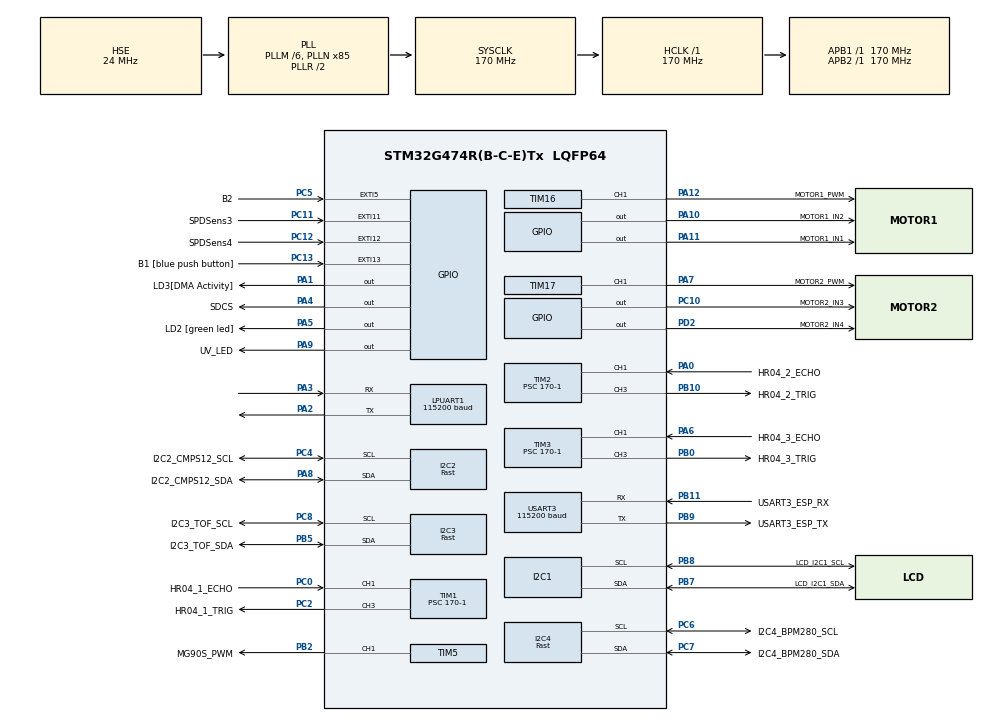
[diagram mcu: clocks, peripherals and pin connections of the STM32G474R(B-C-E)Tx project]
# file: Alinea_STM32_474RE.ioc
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ADC5.Channel-1\#ChannelRegularConversion=ADC_CHANNEL_TEMPSENSOR_ADC5
ADC5.Channel-2\#ChannelRegularConversion=ADC_CHANNEL_VBAT
ADC5.Channel-3\#ChannelRegularConversion=ADC_CHANNEL_VREFINT
ADC5.ContinuousConvMode=ENABLE
ADC5.NbrOfConversion=3
ADC5.NbrOfConversionFlag=1
ADC5.OffsetNumber-1\#ChannelRegularConversion=ADC_OFFSET_NONE
ADC5.OffsetNumber-2\#ChannelRegularConversion=ADC_OFFSET_NONE
ADC5.OffsetNumber-3\#ChannelRegularConversion=ADC_OFFSET_NONE
ADC5.Rank-1\#ChannelRegularConversion=1
ADC5.Rank-2\#ChannelRegularConversion=2
ADC5.Rank-3\#ChannelRegularConversion=3
ADC5.SamplingTime-1\#ChannelRegularConversion=ADC_SAMPLETIME_92CYCLES_5
ADC5.SamplingTime-2\#ChannelRegularConversion=ADC_SAMPLETIME_92CYCLES_5
ADC5.SamplingTime-3\#ChannelRegularConversion=ADC_SAMPLETIME_92CYCLES_5
Dma.ADC5.2.Direction=DMA_PERIPH_TO_MEMORY
Dma.ADC5.2.EventEnable=DISABLE
Dma.ADC5.2.Instance=DMA1_Channel5
Dma.ADC5.2.MemDataAlignment=DMA_MDATAALIGN_WORD
Dma.ADC5.2.MemInc=DMA_MINC_ENABLE
Dma.ADC5.2.Mode=DMA_CIRCULAR
Dma.ADC5.2.PeriphDataAlignment=DMA_PDATAALIGN_WORD
Dma.ADC5.2.PeriphInc=DMA_PINC_DISABLE
Dma.ADC5.2.Polarity=HAL_DMAMUX_REQ_GEN_RISING
Dma.ADC5.2.Priority=DMA_PRIORITY_LOW
Dma.ADC5.2.RequestNumber=1
Dma.ADC5.2.SignalID=NONE
Dma.ADC5.2.SyncEnable=DISABLE
Dma.ADC5.2.SyncPolarity=HAL_DMAMUX_SYNC_NO_EVENT
Dma.ADC5.2.SyncRequestNumber=1
Dma.ADC5.2.SyncSignalID=NONE
Dma.I2C1_RX.0.Direction=DMA_PERIPH_TO_MEMORY
Dma.I2C1_RX.0.EventEnable=DISABLE
Dma.I2C1_RX.0.Instance=DMA1_Channel3
Dma.I2C1_RX.0.MemDataAlignment=DMA_MDATAALIGN_BYTE
Dma.I2C1_RX.0.MemInc=DMA_MINC_ENABLE
Dma.I2C1_RX.0.Mode=DMA_CIRCULAR
Dma.I2C1_RX.0.PeriphDataAlignment=DMA_PDATAALIGN_BYTE
Dma.I2C1_RX.0.PeriphInc=DMA_PINC_DISABLE
Dma.I2C1_RX.0.Polarity=HAL_DMAMUX_REQ_GEN_RISING
Dma.I2C1_RX.0.Priority=DMA_PRIORITY_LOW
Dma.I2C1_RX.0.RequestNumber=1
Dma.I2C1_RX.0.SignalID=NONE
Dma.I2C1_RX.0.SyncEnable=DISABLE
Dma.I2C1_RX.0.SyncPolarity=HAL_DMAMUX_SYNC_NO_EVENT
Dma.I2C1_RX.0.SyncRequestNumber=1
Dma.I2C1_RX.0.SyncSignalID=NONE
Dma.I2C1_TX.1.Direction=DMA_MEMORY_TO_PERIPH
Dma.I2C1_TX.1.EventEnable=DISABLE
Dma.I2C1_TX.1.Instance=DMA1_Channel4
Dma.I2C1_TX.1.MemDataAlignment=DMA_MDATAALIGN_BYTE
Dma.I2C1_TX.1.MemInc=DMA_MINC_ENABLE
Dma.I2C1_TX.1.Mode=DMA_NORMAL
Dma.I2C1_TX.1.PeriphDataAlignment=DMA_PDATAALIGN_BYTE
Dma.I2C1_TX.1.PeriphInc=DMA_PINC_DISABLE
Dma.I2C1_TX.1.Polarity=HAL_DMAMUX_REQ_GEN_RISING
Dma.I2C1_TX.1.Priority=DMA_PRIORITY_LOW
Dma.I2C1_TX.1.RequestNumber=1
Dma.I2C1_TX.1.SignalID=NONE
Dma.I2C1_TX.1.SyncEnable=DISABLE
Dma.I2C1_TX.1.SyncPolarity=HAL_DMAMUX_SYNC_NO_EVENT
Dma.I2C1_TX.1.SyncRequestNumber=1
Dma.I2C1_TX.1.SyncSignalID=NONE
Dma.Request0=I2C1_RX
Dma.Request1=I2C1_TX
Dma.Request2=ADC5
FREERTOS.HEAP_NUMBER=4
FREERTOS.INCLUDE_vTaskCleanUpResources=1
FREERTOS.Tasks01=supervisorTask,8,512,StartSupervisorTask,Default,NULL,Dynamic,NULL,NULL
FREERTOS.configENABLE_FPU=1
FREERTOS.configMINIMAL_STACK_SIZE=256
FREERTOS.configTICK_RATE_HZ=1000
FREERTOS.configTOTAL_HEAP_SIZE=32768
FREERTOS.configUSE_TICKLESS_IDLE=0
I2C1.Timing=0x30A0A7FB
I2C2.I2C_Speed_Mode=I2C_Fast
I2C2.Timing=0x10802D9B
I2C3.I2C_Speed_Mode=I2C_Fast
I2C3.Timing=0x10802D9B
I2C4.Analog_Filter=I2C_ANALOGFILTER_DISABLE
I2C4.I2C_Speed_Mode=I2C_Fast
I2C4.Timing=0x108031A0
LPUART1.BaudRate=115200
Mcu.Family=STM32G4
Mcu.Name=STM32G474R(B-C-E)Tx
Mcu.Package=LQFP64
NVIC.ADC5_IRQn=true\:5\:0\:false\:false\:true\:true\:true\:true
NVIC.DMA1_Channel3_IRQn=true\:5\:0\:false\:false\:true\:true\:false\:true
NVIC.DMA1_Channel4_IRQn=true\:5\:0\:false\:false\:true\:true\:false\:true
NVIC.DMA1_Channel5_IRQn=true\:5\:0\:false\:false\:true\:true\:false\:true
NVIC.EXTI15_10_IRQn=true\:5\:0\:false\:false\:true\:true\:true\:true
NVIC.EXTI9_5_IRQn=true\:5\:0\:false\:false\:true\:true\:true\:true
NVIC.I2C1_ER_IRQn=true\:5\:0\:false\:false\:true\:true\:true\:true
NVIC.I2C1_EV_IRQn=true\:5\:0\:false\:false\:true\:true\:true\:true
NVIC.I2C2_EV_IRQn=true\:5\:0\:false\:false\:true\:true\:true\:true
NVIC.LPUART1_IRQn=true\:5\:0\:false\:false\:true\:true\:true\:true
NVIC.PriorityGroup=NVIC_PRIORITYGROUP_4
NVIC.TIM1_CC_IRQn=true\:5\:0\:false\:false\:true\:true\:true\:true
NVIC.TIM2_IRQn=true\:5\:0\:false\:false\:true\:true\:true\:true
NVIC.TIM3_IRQn=true\:5\:0\:false\:false\:true\:true\:true\:true
NVIC.TIM7_DAC_IRQn=true\:0\:0\:false\:false\:true\:false\:false\:true
NVIC.TimeBase=TIM7_DAC_IRQn
NVIC.TimeBaseIP=TIM7
NVIC.USART3_IRQn=true\:5\:0\:false\:false\:true\:true\:true\:true
PA0.GPIO_Label=HR04_2_ECHO
PA0.GPIO_PuPd=GPIO_PULLDOWN
PA0.GPIO_Speed=GPIO_SPEED_FREQ_HIGH
PA0.Signal=S_TIM2_CH1
PA1.GPIO_Label=LD3[DMA Activity]
PA1.Signal=GPIO_Output
PA10.GPIO_Label=MOTOR1_IN2
PA10.Signal=GPIO_Output
PA11.GPIO_Label=MOTOR1_IN1
PA11.Signal=GPIO_Output
PA12.GPIO_Label=MOTOR1_PWM
PA12.Signal=S_TIM16_CH1
PA13.GPIO_Label=T_SWDIO
PA13.Mode=Serial_Wire
PA13.Signal=SYS_JTMS-SWDIO
PA14.Mode=Serial_Wire
PA14.Signal=SYS_JTCK-SWCLK
PA2.Mode=Asynchronous
PA2.Signal=LPUART1_TX
PA3.Mode=Asynchronous
PA3.Signal=LPUART1_RX
PA4.GPIO_Label=SDCS
PA4.Signal=GPIO_Output
PA5.GPIO_Label=LD2 [green led]
PA5.Signal=GPIO_Output
PA6.GPIO_Label=HR04_3_ECHO
PA6.GPIO_PuPd=GPIO_PULLDOWN
PA6.GPIO_Speed=GPIO_SPEED_FREQ_HIGH
PA6.Signal=S_TIM3_CH1
PA7.GPIO_Label=MOTOR2_PWM
PA7.Signal=S_TIM17_CH1
PA8.GPIO_Label=I2C2_CMPS12_SDA
PA8.Mode=I2C
PA8.Signal=I2C2_SDA
PA9.GPIO_Label=UV_LED
PA9.GPIO_PuPd=GPIO_PULLUP
PA9.Signal=GPIO_Output
PB0.GPIO_Label=HR04_3_TRIG
PB0.Signal=S_TIM3_CH3
PB10.GPIO_Label=HR04_2_TRIG
PB10.Signal=S_TIM2_CH3
PB11.GPIO_Label=USART3_ESP_RX
PB11.GPIO_Speed=GPIO_SPEED_FREQ_VERY_HIGH
PB11.Mode=Asynchronous
PB11.Signal=USART3_RX
PB2.GPIO_Label=MG90S_PWM
PB2.Signal=S_TIM5_CH1
PB3.GPIO_Label=T_SWO
PB3.Signal=SYS_JTDO-SWO
PB5.GPIO_Label=I2C3_TOF_SDA
PB5.Mode=I2C
PB5.Signal=I2C3_SDA
PB7.GPIO_Label=LCD_I2C1_SDA
PB7.Mode=I2C
PB7.Signal=I2C1_SDA
PB8-BOOT0.GPIO_Label=LCD_I2C1_SCL
PB8-BOOT0.Mode=I2C
PB8-BOOT0.Signal=I2C1_SCL
PB9.GPIO_FM9=SYSCFG_FASTMODEPLUS_PB9
PB9.GPIO_Label=USART3_ESP_TX
PB9.GPIO_PuPd=GPIO_NOPULL
PB9.GPIO_Speed=GPIO_SPEED_FREQ_HIGH
PB9.Mode=Asynchronous
PB9.Signal=USART3_TX
PC0.GPIO_Label=HR04_1_ECHO
PC0.GPIO_ModeDefaultPP=GPIO_MODE_AF_PP
PC0.GPIO_PuPd=GPIO_PULLDOWN
PC0.GPIO_Speed=GPIO_SPEED_FREQ_VERY_HIGH
PC0.Signal=S_TIM1_CH1
PC10.GPIO_Label=MOTOR2_IN3
PC10.Signal=GPIO_Output
PC11.GPIO_Label=SPDSens3
PC11.GPIO_ModeDefaultEXTI=GPIO_MODE_IT_FALLING
PC11.GPIO_PuPd=GPIO_PULLUP
PC11.Signal=GPXTI11
PC12.GPIO_Label=SPDSens4
PC12.GPIO_ModeDefaultEXTI=GPIO_MODE_IT_FALLING
PC12.GPIO_PuPd=GPIO_PULLUP
PC12.Signal=GPXTI12
PC13.GPIO_Label=B1 [blue push button]
PC13.GPIO_PuPd=GPIO_PULLDOWN
PC13.Signal=GPXTI13
PC14-OSC32_IN.Mode=LSE-External-Oscillator
PC14-OSC32_IN.Signal=RCC_OSC32_IN
PC15-OSC32_OUT.Mode=LSE-External-Oscillator
PC15-OSC32_OUT.Signal=RCC_OSC32_OUT
PC2.GPIO_Label=HR04_1_TRIG
PC2.GPIO_ModeDefaultPP=GPIO_MODE_AF_PP
PC2.GPIO_PuPd=GPIO_PULLDOWN
PC2.GPIO_Speed=GPIO_SPEED_FREQ_VERY_HIGH
PC2.Signal=S_TIM1_CH3
PC4.GPIO_Label=I2C2_CMPS12_SCL
PC4.Mode=I2C
PC4.Signal=I2C2_SCL
PC5.GPIO_Label=B2
PC5.GPIO_ModeDefaultEXTI=GPIO_MODE_IT_FALLING
PC5.GPIO_PuPd=GPIO_PULLUP
PC5.Signal=GPXTI5
PC6.GPIO_Label=I2C4_BPM280_SCL
PC6.Mode=I2C
PC6.Signal=I2C4_SCL
PC7.GPIO_Label=I2C4_BPM280_SDA
PC7.Mode=I2C
PC7.Signal=I2C4_SDA
PC8.GPIO_Label=I2C3_TOF_SCL
PC8.Mode=I2C
PC8.Signal=I2C3_SCL
PD2.GPIO_Label=MOTOR2_IN4
PD2.Signal=GPIO_Output
PF0-OSC_IN.Mode=HSE-External-Oscillator
PF0-OSC_IN.Signal=RCC_OSC_IN
PF1-OSC_OUT.Mode=HSE-External-Oscillator
PF1-OSC_OUT.Signal=RCC_OSC_OUT
ProjectManager.HeapSize=0x200
ProjectManager.StackSize=0x400
ProjectManager.TargetToolchain=STM32CubeIDE
RCC.ADC12Freq_Value=170000000
RCC.ADC345Freq_Value=170000000
RCC.AHBFreq_Value=170000000
RCC.APB1Freq_Value=170000000
RCC.APB1TimFreq_Value=170000000
RCC.APB2Freq_Value=170000000
RCC.APB2TimFreq_Value=170000000
RCC.CortexFreq_Value=170000000
RCC.EXTERNAL_CLOCK_VALUE=12288000
RCC.HCLKFreq_Value=170000000
RCC.HSE_VALUE=24000000
RCC.HSI48_VALUE=48000000
RCC.HSI_VALUE=16000000
RCC.I2C1CLockSelection=RCC_I2C1CLKSOURCE_SYSCLK
RCC.I2C2CLockSelection=RCC_I2C2CLKSOURCE_SYSCLK
RCC.I2C3CLockSelection=RCC_I2C3CLKSOURCE_SYSCLK
RCC.LPUART1CLockSelection=RCC_LPUART1CLKSOURCE_SYSCLK
RCC.PLLM=RCC_PLLM_DIV6
RCC.PLLN=85
RCC.PLLSourceVirtual=RCC_PLLSOURCE_HSE
RCC.RTCClockSelection=RCC_RTCCLKSOURCE_LSE
RCC.SYSCLKFreq_VALUE=170000000
RCC.SYSCLKSource=RCC_SYSCLKSOURCE_PLLCLK
RCC.USBFreq_Value=170000000
RCC.VCOOutputFreq_Value=340000000
SH.S_TIM16_CH1.0=TIM16_CH1,PWM Generation1 CH1
SH.S_TIM17_CH1.0=TIM17_CH1,PWM Generation1 CH1
SH.S_TIM1_CH1.0=TIM1_CH1,TriggerSource_TI1FP1
SH.S_TIM1_CH1.1=TIM1_CH1,Input_Capture1_from_TI1
SH.S_TIM1_CH1.2=TIM1_CH1,Input_Capture2_from_TI1
SH.S_TIM1_CH3.0=TIM1_CH3,PWM Generation3 CH3
SH.S_TIM2_CH1.0=TIM2_CH1,TriggerSource_TI1FP1
SH.S_TIM2_CH1.1=TIM2_CH1,Input_Capture1_from_TI1
SH.S_TIM2_CH1.2=TIM2_CH1,Input_Capture2_from_TI1
SH.S_TIM2_CH3.0=TIM2_CH3,PWM Generation3 CH3
SH.S_TIM3_CH1.0=TIM3_CH1,TriggerSource_TI1FP1
SH.S_TIM3_CH1.1=TIM3_CH1,Input_Capture1_from_TI1
SH.S_TIM3_CH1.2=TIM3_CH1,Input_Capture2_from_TI1
SH.S_TIM3_CH3.0=TIM3_CH3,PWM Generation3 CH3
SH.S_TIM5_CH1.0=TIM5_CH1,PWM Generation1 CH1
TIM1.AutoReloadPreload=TIM_AUTORELOAD_PRELOAD_ENABLE
TIM1.Channel-Input_Capture1_from_TI1=TIM_CHANNEL_1
TIM1.Channel-Input_Capture2_from_TI1=TIM_CHANNEL_2
TIM1.Channel-PWM\ Generation3\ CH3=TIM_CHANNEL_3
TIM1.Dithering=Disable
TIM1.ICPolarity_CH2=TIM_INPUTCHANNELPOLARITY_FALLING
TIM1.OCFastMode_PWM-PWM\ Generation3\ CH3=TIM_OCFAST_ENABLE
TIM1.PeriodNoDither=0xffff-1
TIM1.Prescaler=170-1
TIM1.PulseNoDither_3=10
TIM16.Channel=TIM_CHANNEL_1
TIM16.PeriodNoDither=100-1
TIM16.Prescaler=17000-1
TIM16.PulseNoDither_1=10
TIM17.Channel=TIM_CHANNEL_1
TIM17.PeriodNoDither=100-1
TIM17.Prescaler=17000-1
TIM17.PulseNoDither_1=10
TIM2.AutoReloadPreload=TIM_AUTORELOAD_PRELOAD_ENABLE
TIM2.Channel-Input_Capture1_from_TI1=TIM_CHANNEL_1
TIM2.Channel-Input_Capture2_from_TI1=TIM_CHANNEL_2
TIM2.Channel-PWM\ Generation3\ CH3=TIM_CHANNEL_3
TIM2.Dithering=Disable
TIM2.ICPolarity_CH2=TIM_INPUTCHANNELPOLARITY_FALLING
TIM2.OCFastMode_PWM-PWM\ Generation3\ CH3=TIM_OCFAST_ENABLE
TIM2.PeriodNoDither=0xffff-1
TIM2.Prescaler=170-1
TIM2.PulseNoDither_3=10
TIM3.AutoReloadPreload=TIM_AUTORELOAD_PRELOAD_ENABLE
TIM3.Channel-Input_Capture1_from_TI1=TIM_CHANNEL_1
TIM3.Channel-Input_Capture2_from_TI1=TIM_CHANNEL_2
TIM3.Channel-PWM\ Generation3\ CH3=TIM_CHANNEL_3
TIM3.Dithering=Disable
TIM3.ICPolarity_CH2=TIM_INPUTCHANNELPOLARITY_FALLING
TIM3.OCFastMode_PWM-PWM\ Generation3\ CH3=TIM_OCFAST_ENABLE
TIM3.PeriodNoDither=0xffff-1
TIM3.Prescaler=170-1
TIM3.PulseNoDither_3=10
TIM5.Channel-PWM\ Generation1\ CH1=TIM_CHANNEL_1
TIM5.OCFastMode_PWM-PWM\ Generation1\ CH1=TIM_OCFAST_DISABLE
TIM5.OCMode_PWM-PWM\ Generation1\ CH1=TIM_OCMODE_PWM1
TIM5.PeriodNoDither=1000-1
TIM5.Prescaler=3400-1
TIM5.PulseNoDither_1=0
USART3.AutoBaudRateEnableParam=UART_ADVFEATURE_AUTOBAUDRATE_DISABLE
USART3.BaudRate=115200
USART3.DMADisableonRxErrorParam=ADVFEATURE_DMA_DISABLEONRXERROR
USART3.OverrunDisableParam=ADVFEATURE_OVERRUN_DISABLE
USART3.Parity=PARITY_NONE
USART3.VirtualMode-Asynchronous=VM_ASYNC
USART3.WordLength=WORDLENGTH_8B
VP_ADC5_TempSens_Input.Mode=IN-TempSens
VP_ADC5_Vbat_Input.Mode=IN-Vbat
VP_ADC5_Vref_Input.Mode=IN-Vrefint
VP_FREERTOS_VS_CMSIS_V2.Mode=CMSIS_V2
VP_SYS_VS_DBSignals.Mode=DisableDeadBatterySignals
VP_SYS_VS_tim7.Mode=TIM7
VP_TIM16_VS_ClockSourceINT.Mode=Enable_Timer
VP_TIM17_VS_ClockSourceINT.Mode=Enable_Timer
VP_TIM1_VS_ClockSourceINT.Mode=Internal
VP_TIM1_VS_ControllerModeReset.Mode=Reset Mode
VP_TIM2_VS_ClockSourceINT.Mode=Internal
VP_TIM2_VS_ControllerModeReset.Mode=Reset Mode
VP_TIM3_VS_ClockSourceINT.Mode=Internal
VP_TIM3_VS_ControllerModeReset.Mode=Reset Mode
board=NUCLEO-G474RE

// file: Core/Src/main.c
/* USER CODE BEGIN Header */
/**
 ******************************************************************************
 * @file           : main.c
 * @brief          : Main program body
 ******************************************************************************
 * @attention
 *
 * <h2><center>&copy; Copyright (c) 2020 STMicroelectronics.
 * All rights reserved.</center></h2>
 *
 * This software component is licensed by ST under BSD 3-Clause license,
 * the "License"; You may not use this file except in compliance with the
 * License. You may obtain a copy of the License at:
 *                        opensource.org/licenses/BSD-3-Clause
 *
 ******************************************************************************
 */
/* USER CODE END Header */

#include "main.h"
#include "cmsis_os.h"
#include "adc.h"
#include "dma.h"
#include "i2c.h"
#include "usart.h"
#include "tim.h"
#include "gpio.h"

/* USER CODE BEGIN Includes */
#include "printf.h"
#include "string.h"
#include <stdio.h>
/* USER CODE END Includes */

void SystemClock_Config(void);
void MX_FREERTOS_Init(void);

int main(void)
{

  /* MCU Configuration--------------------------------------------------------*/

  /* Reset of all peripherals, Initializes the Flash interface and the Systick. */
  HAL_Init();

  /* Configure the system clock */
  SystemClock_Config();

  /* Initialize all configured peripherals */
  MX_GPIO_Init();
  MX_DMA_Init();
  MX_LPUART1_UART_Init();
  MX_I2C1_Init();
  MX_I2C3_Init();
  MX_I2C4_Init();
  MX_TIM1_Init();
  MX_TIM2_Init();
  MX_TIM3_Init();
  MX_TIM5_Init();
  MX_TIM16_Init();
  MX_TIM17_Init();
  MX_USART3_UART_Init();
  MX_ADC5_Init();
  MX_I2C2_Init();

  /* Init scheduler */
  osKernelInitialize();  /* Call init function for freertos objects (in freertos.c) */
  MX_FREERTOS_Init();
  /* Start scheduler */
  osKernelStart();

  /* We should never get here as control is now taken by the scheduler */
  /* Infinite loop */
	while (1) {

	}
}

void SystemClock_Config(void)
{
  RCC_OscInitTypeDef RCC_OscInitStruct = {0};
  RCC_ClkInitTypeDef RCC_ClkInitStruct = {0};
  RCC_PeriphCLKInitTypeDef PeriphClkInit = {0};

  /** Configure the main internal regulator output voltage
  */
  HAL_PWREx_ControlVoltageScaling(PWR_REGULATOR_VOLTAGE_SCALE1_BOOST);
  /** Initializes the CPU, AHB and APB busses clocks
  */
  RCC_OscInitStruct.OscillatorType = RCC_OSCILLATORTYPE_HSE;
  RCC_OscInitStruct.HSEState = RCC_HSE_ON;
  RCC_OscInitStruct.PLL.PLLState = RCC_PLL_ON;
  RCC_OscInitStruct.PLL.PLLSource = RCC_PLLSOURCE_HSE;
  RCC_OscInitStruct.PLL.PLLM = RCC_PLLM_DIV6;
  RCC_OscInitStruct.PLL.PLLN = 85;
  RCC_OscInitStruct.PLL.PLLP = RCC_PLLP_DIV2;
  RCC_OscInitStruct.PLL.PLLQ = RCC_PLLQ_DIV2;
  RCC_OscInitStruct.PLL.PLLR = RCC_PLLR_DIV2;
  if (HAL_RCC_OscConfig(&RCC_OscInitStruct) != HAL_OK)
  {
    Error_Handler();
  }
  /** Initializes the CPU, AHB and APB busses clocks
  */
  RCC_ClkInitStruct.ClockType = RCC_CLOCKTYPE_HCLK|RCC_CLOCKTYPE_SYSCLK
                              |RCC_CLOCKTYPE_PCLK1|RCC_CLOCKTYPE_PCLK2;
  RCC_ClkInitStruct.SYSCLKSource = RCC_SYSCLKSOURCE_PLLCLK;
  RCC_ClkInitStruct.AHBCLKDivider = RCC_SYSCLK_DIV1;
  RCC_ClkInitStruct.APB1CLKDivider = RCC_HCLK_DIV1;
  RCC_ClkInitStruct.APB2CLKDivider = RCC_HCLK_DIV1;

  if (HAL_RCC_ClockConfig(&RCC_ClkInitStruct, FLASH_LATENCY_8) != HAL_OK)
  {
    Error_Handler();
  }
  /** Initializes the peripherals clocks
  */
  PeriphClkInit.PeriphClockSelection = RCC_PERIPHCLK_USART3|RCC_PERIPHCLK_LPUART1
                              |RCC_PERIPHCLK_I2C1|RCC_PERIPHCLK_I2C2
                              |RCC_PERIPHCLK_I2C3|RCC_PERIPHCLK_I2C4
                              |RCC_PERIPHCLK_ADC345;
  PeriphClkInit.Usart3ClockSelection = RCC_USART3CLKSOURCE_PCLK1;
  PeriphClkInit.Lpuart1ClockSelection = RCC_LPUART1CLKSOURCE_SYSCLK;
  PeriphClkInit.I2c1ClockSelection = RCC_I2C1CLKSOURCE_SYSCLK;
  PeriphClkInit.I2c2ClockSelection = RCC_I2C2CLKSOURCE_SYSCLK;
  PeriphClkInit.I2c3ClockSelection = RCC_I2C3CLKSOURCE_SYSCLK;
  PeriphClkInit.I2c4ClockSelection = RCC_I2C4CLKSOURCE_PCLK1;
  PeriphClkInit.Adc345ClockSelection = RCC_ADC345CLKSOURCE_SYSCLK;
  if (HAL_RCCEx_PeriphCLKConfig(&PeriphClkInit) != HAL_OK)
  {
    Error_Handler();
  }
}

/* USER CODE BEGIN 4 */
void _putchar(char character)
{
  HAL_UART_Transmit(&hlpuart1, (uint8_t *)&character, sizeof(uint8_t), HAL_MAX_DELAY);
}
/* USER CODE END 4 */

 /**
  * @brief  Period elapsed callback in non blocking mode
  * @note   This function is called  when TIM7 interrupt took place, inside
  * HAL_TIM_IRQHandler(). It makes a direct call to HAL_IncTick() to increment
  * a global variable "uwTick" used as application time base.
  * @param  htim : TIM handle
  * @retval None
  */
void HAL_TIM_PeriodElapsedCallback(TIM_HandleTypeDef *htim)
{
  if (htim->Instance == TIM7) {
    HAL_IncTick();
  }
}

void Error_Handler(void)
{
  /* USER CODE BEGIN Error_Handler_Debug */
	/* User can add his own implementation to report the HAL error return state */
	char msg[50];
	sprintf(msg, "Error reported... File %s on line %d\n\r", file, line);
	HAL_UART_Transmit(&hlpuart1, (uint8_t*) msg, strlen(msg), HAL_MAX_DELAY);

  /* USER CODE END Error_Handler_Debug */
}

#ifdef  USE_FULL_ASSERT
/**
  * @brief  Reports the name of the source file and the source line number
  *         where the assert_param error has occurred.
  * @param  file: pointer to the source file name
  * @param  line: assert_param error line source number
  * @retval None
  */
void assert_failed(uint8_t *file, uint32_t line)
{
  /* USER CODE BEGIN 6 */
	/* User can add his own implementation to report the file name and line number,
      printf("Wrong parameters value: file %s on line %d\r\n", file, line) */
	char msg[100];
	sprintf(msg, "Wrong parameters value: file %s", file);// on line %lu\r\n", file, line);
	loggerE(msg);
	//HAL_UART_Transmit(&hlpuart1, (uint8_t *)msg, strlen(msg), HAL_MAX_DELAY);

  /* USER CODE END 6 */
}
#endif /* USE_FULL_ASSERT */

/************************ (C) COPYRIGHT STMicroelectronics *****END OF FILE****/

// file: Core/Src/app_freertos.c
/* USER CODE BEGIN Header */
/**
 ******************************************************************************
 * File Name          : app_freertos.c
 * Description        : Code for freertos applications
 ******************************************************************************
 * @attention
 *
 * <h2><center>&copy; Copyright (c) 2020 STMicroelectronics.
 * All rights reserved.</center></h2>
 *
 * This software component is licensed by ST under Ultimate Liberty license
 * SLA0044, the "License"; You may not use this file except in compliance with
 * the License. You may obtain a copy of the License at:
 *                             www.st.com/SLA0044
 *
 ******************************************************************************
 */
/* USER CODE END Header */

#include "FreeRTOS.h"
#include "task.h"
#include "main.h"
#include "cmsis_os.h"

/* USER CODE BEGIN Includes */

#include <stdlib.h>
#include "configuration.h"
#include "string.h"
#include "printf.h"
#include "i2c.h"
#include "Button_service.h"
#include "IRQ_Handler.h"
#include "BMP280_service.h"
#include "lcdMenu_service.h"
#include "HCSR04_service.h"
#include "MotorsControl_service.h"
#include "command_service.h"
#include "MG90S_service.h"
#include "navControl_service.h"
#include "esp32serial_service.h"
#include "SystemInfos.h"
#include "uvLed_service.h"
#include "CMPS12_service.h"
#include "data_service.h"

/* USER CODE END Includes */

/* USER CODE BEGIN PD */

#define SERVICE_LOGGER_COMPLETE			(1 << 0)
#define SERVICE_LCD_COMPLETE			(1 << 1)
#define SERVICE_BUTTON_COMPLETE			(1 << 2)
#define SERVICE_HR04_COMPLETE			(1 << 3)
#define SERVICE_V53L0X_COMPLETE			(1 << 4)
#define SERVICE_MPU6050_COMPLETE		(1 << 5)
#define SERVICE_SDCARD_COMPLETE			(1 << 6)
#define SERVICE_SPEED_COMPLETE			(1 << 7)
#define SERVICE_HCM5883_COMPLETE		(1 << 8)
#define SERVICE_NAVCONTROL_COMPLETE		(1 << 9)
#define SERVICE_MOTORSCONTROL_COMPLETE	(1 << 10)

/* USER CODE END PD */

/* USER CODE BEGIN Variables */
UART_HandleTypeDef hlpuart1;
uint16_t ServicesSuccessFlags = 0; /* holds the flags of succesfully running services */

/* USER CODE END Variables */
/* Definitions for supervisorTask */
osThreadId_t supervisorTaskHandle;
const osThreadAttr_t supervisorTask_attributes = {
  .name = "supervisorTask",
  .priority = (osPriority_t) osPriorityLow,
  .stack_size = 512 * 4
};

void StartSupervisorTask(void *argument);

void MX_FREERTOS_Init(void); /* (MISRA C 2004 rule 8.1) */

void MX_FREERTOS_Init(void) {
  /* USER CODE BEGIN Init */

	char *msg = "\n\r-------------------------- Starting program... Initializing services...\n\n\r";
	HAL_UART_Transmit(&hlpuart1, (uint8_t*) msg, strlen(msg), HAL_MAX_DELAY);

#ifdef DEBUG_SERVICE_LCD_MENU
	if (uLcdMenuServiceInit() == EXIT_FAILURE) {
		printf("Error Initializing LCD Menu Service\n\r");
		Error_Handler();
	}
#endif

#ifdef DEBUG_SERVICE_BUTTON
	if (uButtonServiceInit() == EXIT_FAILURE) {
		printf("Error Initializing Button Service\n\r");
		Error_Handler();
	} else {
		ServicesSuccessFlags |= SERVICE_BUTTON_COMPLETE;
	}
#endif

#ifdef DEBUG_SERVICE_HCSR04
	if (uHcsr04ServiceInit() == EXIT_FAILURE) {
		printf("Error Initializing HR-SC04 Distance Sensors Service\n\r");
		Error_Handler();
	} else {
		ServicesSuccessFlags |= SERVICE_HR04_COMPLETE;
	}
#endif

#ifdef DEBUG_SERVICE_MG90S
	if (uMg90sServiceInit() == EXIT_FAILURE) {
		printf("Error Initializing Front Servo Service\n\r");
		Error_Handler();
	}
#endif

#ifdef DEBUG_SERVICE_CMD_PARSER
	if (uCmdParseServiceInit() == EXIT_FAILURE) {
		printf("Error Initializing Command Parser Service\n\r");
		Error_Handler();
	}
#endif

#ifdef DEBUG_SERVICE_ESP32_SERIAL
	if (uEsp32SerialServiceInit() == EXIT_FAILURE) {
		printf("Error Initializing ESP32 Serial TX/RX Service\n\r");
		Error_Handler();
	}
#endif

#ifdef DEBUG_SERVICE_BMP280
	if (uBmp280ServiceInit() == EXIT_FAILURE) {
		printf("Error Initializing BMP280 Service\n\r");
		Error_Handler();
	}
#endif

#ifdef DEBUG_SERVICE_CMPS12
	if (uCmps12ServiceInit() == EXIT_FAILURE) {
		printf("Error Initializing CMPS12 Service\n\r");
		//Error_Handler();
	}
#endif

#ifdef DEBUG_SERVICE_MOTORS
	if (uMotorsControlServiceInit() == EXIT_FAILURE) {
		printf("Error Initializing Motors Control Service");
		Error_Handler();
	} else {
		ServicesSuccessFlags |= SERVICE_MOTORSCONTROL_COMPLETE;
	}
#endif

#ifdef DEBUG_SERVICE_NAVCONTROL
	if (uNavControlServiceInit() == EXIT_FAILURE) {
		printf("Error Initializing Nav Control Service");
		Error_Handler();
	} else {
		ServicesSuccessFlags |= SERVICE_NAVCONTROL_COMPLETE;
	}
#endif

	//FIXME: Crash here!
	/*if (uSystemInfoServiceInit()== EXIT_FAILURE) {
		dbg_printf("Error Initializing System Info Service");
		Error_Handler();
	}*/

#ifdef DEBUG_SERVICE_UVLED
	if (uUvLedServiceInit() == EXIT_FAILURE) {
		printf("Error Initializing UV Led Service");
		Error_Handler();
	}
#endif

#ifdef DEBUG_SERVICE_DATA_CTRL
	if (uDataServiceinit() == EXIT_FAILURE) {
		printf("Error Initializing Data Control Service");
		Error_Handler();
	}
#endif

	//dbg_printf("Init sequence complete....");
	/** let's start the 1µs timer for the whole application */

  /* USER CODE END Init */

  /* Create the thread(s) */
  /* creation of supervisorTask */
  supervisorTaskHandle = osThreadNew(StartSupervisorTask, NULL, &supervisorTask_attributes);

}

void StartSupervisorTask(void *argument)
{
  /* USER CODE BEGIN StartSupervisorTask */
	/* USER CODE BEGIN StartDefaultTask */
	char infobuf[100];
	osVersion_t osv;
	osStatus_t status;
	status = osKernelGetInfo(&osv, infobuf, sizeof(infobuf));
	if(status == osOK) {
		printf("------------------------------------------\r\n");
		printf("Kernel Information: %s\r\n", infobuf);
		printf("Kernel Version    : %d\r\n", osv.kernel);
		printf("Kernel API Version: %d\r\n", osv.api);
	}
	/* Infinite loop */
	for(;;)
	{

		osDelay(1000);
	}
  /* USER CODE END StartSupervisorTask */
}

/************************ (C) COPYRIGHT STMicroelectronics *****END OF FILE****/
